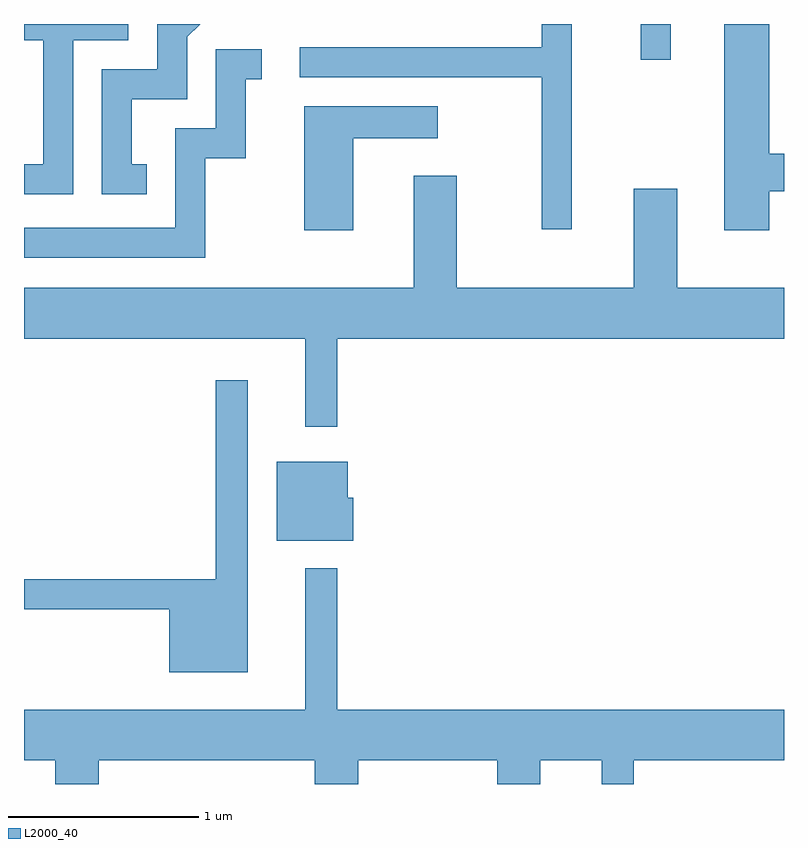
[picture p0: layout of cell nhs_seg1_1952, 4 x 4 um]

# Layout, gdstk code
import gdstk
lib = gdstk.Library(unit=1e-6, precision=1e-09)
def R(c, l, rs):  # rectangles x0, y0, x1, y1
    for r in rs: c.add(gdstk.rectangle(r[:2], r[2:], *l))
def P(c, l, *ps):  # polygons
    for p in ps: c.add(gdstk.Polygon(p, *l))
L2000_40 = (2000, 40)

nhs_seg1_1952 = lib.new_cell('nhs_seg1_1952')
R(nhs_seg1_1952, L2000_40, [(248.856,865.523,249.014,865.712)])
P(nhs_seg1_1952, L2000_40, [(248.494,865.712),(248.336,865.712),(248.336,865.589),(247.063,865.589),(247.063,865.431),(248.336,865.431),(248.336,864.633),(248.494,864.633)],
  [(249.534,864.831),(249.611,864.831),(249.611,865.029),(249.534,865.029),(249.534,865.712),(249.296,865.712),(249.296,864.626),(249.534,864.626)],
  [(246.258,864.974),(246.179,864.974),(246.179,865.316),(246.469,865.316),(246.469,865.644),(246.538,865.712),(246.311,865.712),(246.311,865.474),(246.021,865.474),(246.021,864.816),(246.258,864.816)],
  [(245.869,865.626),(246.159,865.626),(246.159,865.712),(245.611,865.712),(245.611,865.626),(245.711,865.626),(245.711,864.974),(245.611,864.974),(245.611,864.816),(245.869,864.816)],
  [(246.564,865.006),(246.779,865.006),(246.779,865.421),(246.863,865.421),(246.863,865.579),(246.621,865.579),(246.621,865.164),(246.406,865.164),(246.406,864.639),(245.611,864.639),(245.611,864.481),(246.564,864.481)],
  [(247.344,865.111),(247.788,865.111),(247.788,865.279),(247.086,865.279),(247.086,864.626),(247.344,864.626)],
  [(249.611,864.324),(249.049,864.324),(249.049,864.844),(248.821,864.844),(248.821,864.324),(247.889,864.324),(247.889,864.914),(247.661,864.914),(247.661,864.324),(245.611,864.324),(245.611,864.056),(247.091,864.056),(247.091,863.593),(247.259,863.593),(247.259,864.056),(249.611,864.056)],
  [(246.789,863.838),(246.621,863.838),(246.621,862.789),(245.611,862.789),(245.611,862.631),(246.376,862.631),(246.376,862.301),(246.789,862.301)],
  [(247.344,863.219),(247.314,863.219),(247.314,863.409),(246.941,863.409),(246.941,862.991),(247.344,862.991)],
  [(246.004,861.836),(247.141,861.836),(247.141,861.712),(247.369,861.712),(247.369,861.836),(248.101,861.836),(248.101,861.712),(248.329,861.712),(248.329,861.836),(248.651,861.836),(248.651,861.712),(248.819,861.712),(248.819,861.836),(249.611,861.836),(249.611,862.104),(247.259,862.104),(247.259,862.848),(247.091,862.848),(247.091,862.104),(245.611,862.104),(245.611,861.836),(245.776,861.836),(245.776,861.712),(246.004,861.712)])

lib.write_gds('nhs_seg1_1952.gds')
